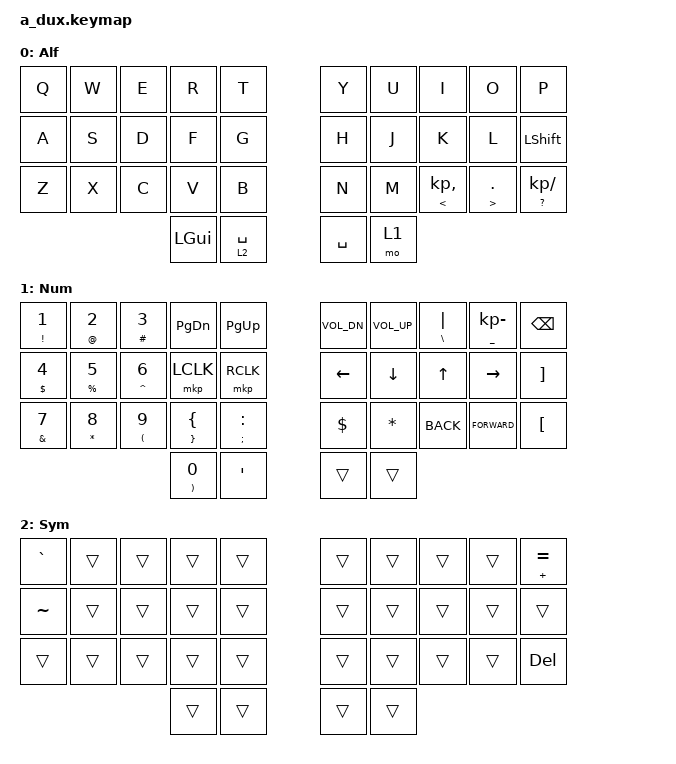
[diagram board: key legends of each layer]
/*
 * Copyright (c) 2021 The ZMK Contributors
 *
 * SPDX-License-Identifier: MIT
 */

#include <behaviors.dtsi>
#include <dt-bindings/zmk/keys.h>
#include <dt-bindings/zmk/pointing.h>

/ {
    combos {
        compatible = "zmk,combos";

        Enter {
            bindings = <&kp ENTER>;
            key-positions = <13 12>;
            timeout-ms = <20>;
        };

        tab {
            bindings = <&kp TAB>;
            key-positions = <16 17>;
            timeout-ms = <20>;
        };

        escape {
            bindings = <&kp ESC>;
            key-positions = <3 2>;
        };

        control {
            bindings = <&kp LEFT_CONTROL>;
            key-positions = <31 32>;
        };
    };

    keymap {
        compatible = "zmk,keymap";

        base_layer {
            display-name = "Alf";
            bindings = <
&kp Q  &kp W  &kp E  &kp R  &kp T                                   &kp Y  &kp U  &kp I                   &kp O                    &kp P
&kp A  &kp S  &kp D  &kp F  &kp G                                   &kp H  &kp J  &kp K                   &kp L                    &kp LEFT_SHIFT
&kp Z  &kp X  &kp C  &kp V  &kp B                                   &kp N  &kp M  &mt LESS_THAN KP_COMMA  &mt GREATER_THAN PERIOD  &mt QUESTION KP_DIVIDE
                            &kp LEFT_GUI  &lt 2 SPACE    &kp SPACE  &mo 1
            >;
        };

        layer_1 {
            display-name = "Num";
            bindings = <
&mt EXCL NUMBER_1  &mt AT NUMBER_2  &mt POUND NUMBER_3       &kp PAGE_DOWN               &kp PAGE_UP                             &kp C_VOL_DN  &kp C_VOL_UP  &mt BSLH PIPE  &mt UNDERSCORE KP_MINUS  &kp BSPC
&mt DLLR NUMBER_4  &mt PERCENT N5   &mt CARET NUMBER_6       &mkp LCLK                   &mkp RCLK                               &kp LEFT      &kp DOWN      &kp UP         &kp RIGHT                &kp RIGHT_BRACKET
&mt AMPS N7        &mt ASTRK N8     &mt LEFT_PARENTHESIS N9  &mt RIGHT_BRACE LEFT_BRACE  &mt SEMICOLON COLON                     &kp DOLLAR    &kp ASTRK     &kp K_BACK     &kp K_FORWARD            &kp LEFT_BRACKET
                                                                                         &mt RPAR N0          &kp SQT    &trans  &trans
            >;
        };

        layer_2 {
            display-name = "Sym";
            bindings = <
&kp GRAVE  &trans  &trans  &trans  &trans                    &trans  &trans  &trans  &trans  &mt PLUS EQUAL
&kp TILDE  &trans  &trans  &trans  &trans                    &trans  &trans  &trans  &trans  &trans
&trans     &trans  &trans  &trans  &trans                    &trans  &trans  &trans  &trans  &kp DELETE
                                   &trans  &trans    &trans  &trans
            >;
        };
    };
};
